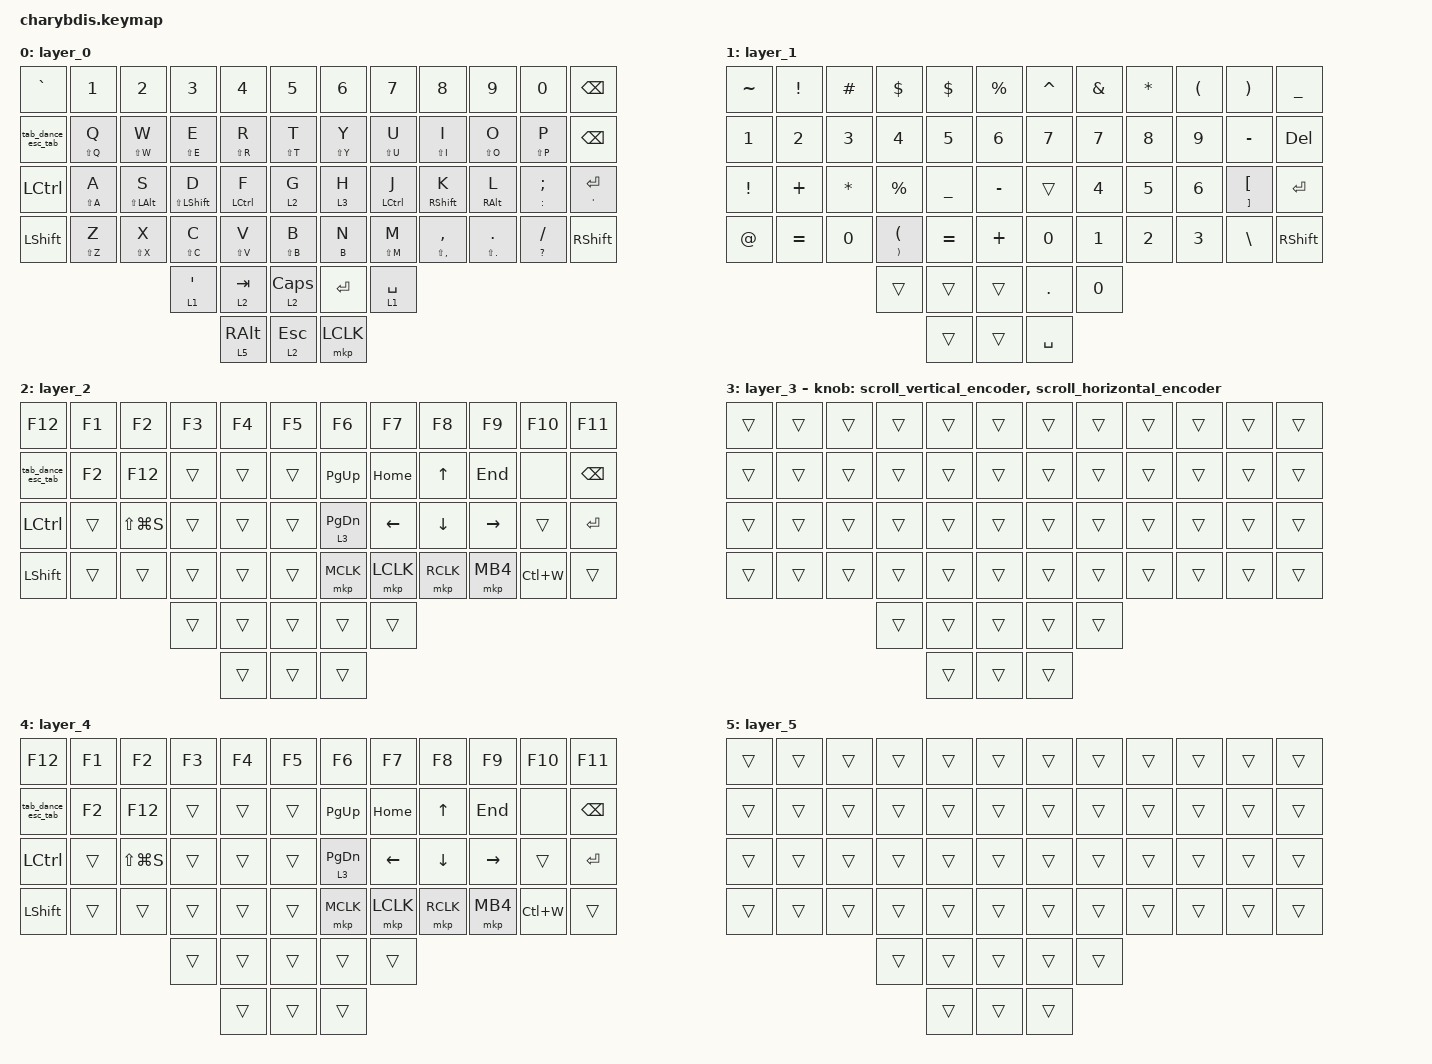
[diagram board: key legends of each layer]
#include <behaviors.dtsi>
#include <dt-bindings/zmk/bt.h>
#include <dt-bindings/zmk/keys.h>
#include <dt-bindings/zmk/rgb.h>
#include <dt-bindings/zmk/outputs.h>
#include <dt-bindings/zmk/pointing.h>
#include <dt-bindings/zmk/mouse.h>
#include <input/processors.dtsi>
#include <zephyr/dt-bindings/input/input-event-codes.h>

#define ZMK_POINTING_DEFAULT_MOVE_VAL 1000 // 600
#define ZMK_POINTING_DEFAULT_SCRL_VAL 12   // 10


&lt {
    tapping-term-ms = <200>;
    flavor = "balanced";
    quick-tap-ms = <150>;
};

&mmv_input_listener { input-processors = <&zip_xy_scaler 2 1>; };

&msc_input_listener { input-processors = <&zip_scroll_scaler 2 1>; };

&msc {
    acceleration-exponent = <0>;      // 0
    time-to-max-speed-ms = <100>;       // 300
    delay-ms = <0>;                   // 0
};

&mmv {
    time-to-max-speed-ms = <500>;
    acceleration-exponent = <1>;
    trigger-period-ms = <16>;
};

/ {
  // 上下滚动编码器行为
    scroll_vertical_encoder: scroll_vertical_encoder {
        compatible = "zmk,behavior-sensor-rotate";
        #sensor-binding-cells = <0>;
        bindings = <&msc SCRL_DOWN>, <&msc SCRL_UP>;
        tap-ms = <100>;
    };

    // 左右滚动编码器行为
    scroll_horizontal_encoder: scroll_horizontal_encoder {
        compatible = "zmk,behavior-sensor-rotate";
        #sensor-binding-cells = <0>;
        bindings = <&msc SCRL_LEFT>, <&msc SCRL_RIGHT>;
        tap-ms = <100>;
    };

    combos {
        compatible = "zmk,combos";

        com_bs {
            bindings = <&kp BACKSPACE>;
            key-positions = <31 32>;
            layers = <0 1>;
        };

        com_del {
            bindings = <&kp DEL>;
            key-positions = <32 33>;
            layers = <0 1>;
        };

        com_exe {
            bindings = <&kp LC(E)>;
            key-positions = <14 15 16>;
        };

        com_lgui {
            bindings = <&kp LEFT_WIN>;
            key-positions = <36 37>;
        };

        com_left_p {
            bindings = <&kp LEFT_PARENTHESIS>;
            key-positions = <19 20>;
            layers = <0>;
        };

        com_f5 {
            bindings = <&kp F5>;
            key-positions = <16 17>;
            layers = <0>;
        };

        com_plus {
            bindings = <&kp EQUAL>;
            key-positions = <33 34>;
            layers = <0>;
        };

        com_asta {
            bindings = <&kp ASTRK>;
            key-positions = <18 19>;
            layers = <0>;
        };

        com_right_p {
            bindings = <&kp RIGHT_PARENTHESIS>;
            key-positions = <20 21>;
        };

        com_ctrl_c {
            bindings = <&kp LC(C)>;
            key-positions = <27 28>;
        };

        com_ctrl_v {
            bindings = <&kp LC(V)>;
            key-positions = <39 40>;
        };

        com_ctrl_z {
            bindings = <&kp LC(Z)>;
            key-positions = <26 27>;
        };

        com_ctrl_x {
            bindings = <&kp LC(X)>;
            key-positions = <39 38>;
        };

        com_tidle {
            bindings = <&kp TILDE>;
            key-positions = <12 13>;
        };

        com_at {
            bindings = <&kp AT_SIGN>;
            key-positions = <13 14>;
        };

        com_unders {
            bindings = <&kp LS(MINUS)>;
            key-positions = <21 22>;
        };

        com_minus {
            bindings = <&kp MINUS>;
            key-positions = <31 20>;
        };

        com_caps {
            bindings = <&hold CAPS RIGHT_ALT>;
            key-positions = <52 31>;
        };
    };

behaviors {       
        hml: homewrow_mods_left {
            compatible = "zmk,behavior-hold-tap";
            label = "HOMEROW_MODS_LEFT_HAND";
            bindings = <&kp>, <&kp>;

            #binding-cells = <2>;
            tapping-term-ms = <280>;
            hold-trigger-key-positions = <5 6 7 8 9 15 16 17 18 19 25 26 27 28 29 33 34>;
            flavor = "balanced";
            quick-tap-ms = <175>;
            require-prior-idle-ms = <125>;
            hold-trigger-on-release;
        };

        hmr: homewrow_mods_right {
            compatible = "zmk,behavior-hold-tap";
            label = "HOMEROW_MODS_RIGHT_HAND";
            bindings = <&kp>, <&kp>;

            #binding-cells = <2>;
            tapping-term-ms = <280>;
            hold-trigger-key-positions = <0 1 2 3 4 10 11 12 13 14 20 21 22 23 24 30 31 32>;
            flavor = "balanced";
            quick-tap-ms = <175>;
            require-prior-idle-ms = <125>;
            hold-trigger-on-release;
        };

        tab_dance_esc_tab: tab_dance_esc_tab {
            compatible = "zmk,behavior-tap-dance";
            label = "TAB_DANCE_ESC_TAB";
            #binding-cells = <0>;
            bindings = <&hold ESC TAB>, <&kp GRAVE>;
        };

        hold: hold {
            compatible = "zmk,behavior-hold-tap";
            label = "HOLD";
            bindings = <&kp>, <&kp>;

            #binding-cells = <2>;
            tapping-term-ms = <270>;
            flavor = "balanced";
        };

        tog_layer: tog_layer {
            compatible = "zmk,behavior-hold-tap";
            label = "TOG_LAYER";
            bindings = <&tog>, <&tog>;

            #binding-cells = <2>;
            tapping-term-ms = <200>;
        };

        mo_to: mo_to {
            compatible = "zmk,behavior-hold-tap";
            label = "MO_TO";
            bindings = <&mo>, <&tog>;

            #binding-cells = <2>;
            tapping-term-ms = <200>;
            flavor = "balanced";
        };
    };

   
   keymap {
        compatible = "zmk,keymap";

        layer_0 {
            bindings = <
&kp GRAVE           &kp N1         &kp N2                &kp N3                  &kp N4                &kp N5            &kp N6         &kp N7                 &kp N8                 &kp N9             &kp N0                &kp BACKSPACE
&tab_dance_esc_tab  &hold LS(Q) Q  &hold LS(W) W         &hold LS(E) E           &hold LS(R) R         &hold LS(T) T     &hold LS(Y) Y  &hold LS(U) U          &hold LS(I) I          &hold LS(O) O      &hold LS(P) P         &kp BACKSPACE
&kp LEFT_CONTROL    &hold LS(A) A  &hold LS(LEFT_ALT) S  &hold LS(LEFT_SHIFT) D  &hold LEFT_CONTROL F  &lt 2 G           &lt 3 H        &hold LEFT_CONTROL J   &hold RIGHT_SHIFT K    &hold RIGHT_ALT L  &hold COLON SEMI      &hold SINGLE_QUOTE ENTER
&kp LEFT_SHIFT      &hold LS(Z) Z  &hold LS(X) X         &hold LS(C) C           &hold LS(V) V         &hold LS(B) B     &hold B N      &hold LS(M) M          &hold LS(COMMA) COMMA  &hold LS(DOT) DOT  &hold QUESTION SLASH  &kp RSHFT
                                                         &lt 1 SINGLE_QUOTE      &lt 2 TAB             &lt 2 CAPS        &kp ENTER      &lt 1 SPACE
                                                                                 &lt 5 RIGHT_ALT       &lt 2 ESC         &mkp LCLK
            >;


        };

        layer_1 {
            bindings = <
&kp TILDE         &kp EXCLAMATION  &kp HASH      &kp DOLLAR                                &kp DOLLAR      &kp PERCENT    &kp CARET  &kp AMPERSAND  &kp ASTERISK  &kp LEFT_PARENTHESIS  &kp RIGHT_PARENTHESIS             &kp UNDERSCORE
&kp N1            &kp N2           &kp N3        &kp N4                                    &kp N5          &kp N6         &kp N7     &kp N7         &kp N8        &kp N9                &kp MINUS                         &kp DEL
&kp EXCLAMATION   &kp PLUS         &kp ASTERISK  &kp PERCENT                               &kp UNDERSCORE  &kp MINUS      &trans     &kp N4         &kp N5        &kp N6                &hold RIGHT_BRACKET LEFT_BRACKET  &kp RET
&kp AT_SIGN       &kp EQUAL        &kp NUMBER_0  &hold RIGHT_PARENTHESIS LEFT_PARENTHESIS  &kp EQUAL       &kp PLUS       &kp N0     &kp N1         &kp N2        &kp N3                &kp BSLH                          &kp RSHFT
                                                 &trans                                    &trans          &trans         &kp DOT    &kp N0
                                                                                           &trans          &trans         &kp SPACE
            >;

          
        };

         layer_2 {
            bindings = <
&kp F12             &kp F1  &kp F2         &kp F3  &kp F4  &kp F5    &kp F6           &kp F7     &kp F8     &kp F9     &kp F10    &kp F11
&tab_dance_esc_tab  &kp F2  &kp F12        &trans  &trans  &trans    &kp PAGE_UP      &kp HOME   &kp UP     &kp END    &none      &kp BSPC
&kp LEFT_CONTROL    &trans  &kp LS(LG(S))  &trans  &trans  &trans    &lt 3 PAGE_DOWN  &kp LEFT   &kp DOWN   &kp RIGHT  &trans     &kp RET
&kp LEFT_SHIFT      &trans  &trans         &trans  &trans  &trans    &mkp MCLK        &mkp LCLK  &mkp RCLK  &mkp MB4   &kp LC(W)  &trans
                                           &trans  &trans  &trans    &trans           &trans
                                                   &trans  &trans    &trans
            >;
       
            
        };

       layer_3 {
            bindings = <
&trans  &trans  &trans     &trans     &trans     &trans       &trans     &trans     &trans     &trans     &trans  &trans
&trans  &trans  &trans     &trans     &trans     &trans       &trans     &trans     &trans     &trans     &trans  &trans
&trans  &trans  &trans     &trans     &trans     &trans       &trans     &trans     &trans     &trans     &trans  &trans
&trans  &trans  &trans     &trans     &trans     &trans       &trans     &trans     &trans     &trans     &trans  &trans
                           &trans     &trans     &trans       &trans     &trans
                                      &trans     &trans       &trans
            >;
             sensor-bindings = <&scroll_vertical_encoder>,   // 编码器1：上下滚动
                             <&scroll_horizontal_encoder>;  // 编码器2：左右滚动
            
        };

        layer_4 {
            bindings = <
&kp F12             &kp F1  &kp F2         &kp F3  &kp F4  &kp F5    &kp F6           &kp F7     &kp F8     &kp F9     &kp F10    &kp F11
&tab_dance_esc_tab  &kp F2  &kp F12        &trans  &trans  &trans    &kp PAGE_UP      &kp HOME   &kp UP     &kp END    &none      &kp BSPC
&kp LEFT_CONTROL    &trans  &kp LS(LG(S))  &trans  &trans  &trans    &lt 3 PAGE_DOWN  &kp LEFT   &kp DOWN   &kp RIGHT  &trans     &kp RET
&kp LEFT_SHIFT      &trans  &trans         &trans  &trans  &trans    &mkp MCLK        &mkp LCLK  &mkp RCLK  &mkp MB4   &kp LC(W)  &trans
                                           &trans  &trans  &trans    &trans           &trans
                                                   &trans  &trans    &trans
            >;
                
                
               
        };

        layer_5 {
            bindings = <
&trans  &trans  &trans     &trans     &trans     &trans       &trans     &trans     &trans     &trans     &trans  &trans
&trans  &trans  &trans     &trans     &trans     &trans       &trans     &trans     &trans     &trans     &trans  &trans
&trans  &trans  &trans     &trans     &trans     &trans       &trans     &trans     &trans     &trans     &trans  &trans
&trans  &trans  &trans     &trans     &trans     &trans       &trans     &trans     &trans     &trans     &trans  &trans
                           &trans     &trans     &trans       &trans     &trans
                                      &trans     &trans       &trans
            >;
                
                
        };
    };
};
